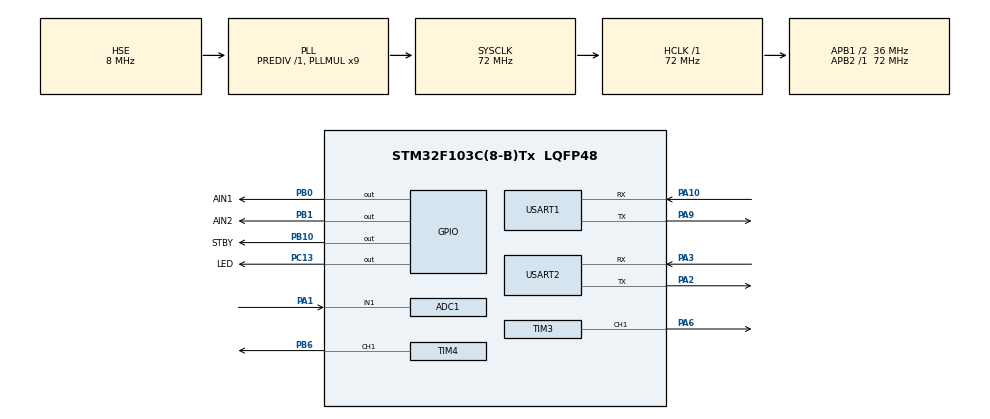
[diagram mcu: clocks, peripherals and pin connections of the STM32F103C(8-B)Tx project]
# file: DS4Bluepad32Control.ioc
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ADC1.Channel-3\#ChannelRegularConversion=ADC_CHANNEL_1
ADC1.NbrOfConversionFlag=1
ADC1.Rank-3\#ChannelRegularConversion=1
ADC1.SamplingTime-3\#ChannelRegularConversion=ADC_SAMPLETIME_1CYCLE_5
ADC1.master=1
Mcu.Family=STM32F1
Mcu.Name=STM32F103C(8-B)Tx
Mcu.Package=LQFP48
NVIC.PriorityGroup=NVIC_PRIORITYGROUP_4
NVIC.USART1_IRQn=true\:0\:0\:false\:false\:true\:true\:true\:true
NVIC.USART2_IRQn=true\:0\:0\:false\:false\:true\:true\:true\:true
PA1.Signal=ADCx_IN1
PA10.Mode=Asynchronous
PA10.Signal=USART1_RX
PA13.Mode=Serial_Wire
PA13.Signal=SYS_JTMS-SWDIO
PA14.Mode=Serial_Wire
PA14.Signal=SYS_JTCK-SWCLK
PA2.Mode=Asynchronous
PA2.Signal=USART2_TX
PA3.Mode=Asynchronous
PA3.Signal=USART2_RX
PA6.Signal=S_TIM3_CH1
PA9.Mode=Asynchronous
PA9.Signal=USART1_TX
PB0.GPIO_Label=AIN1
PB0.Signal=GPIO_Output
PB1.GPIO_Label=AIN2
PB1.Signal=GPIO_Output
PB10.GPIO_Label=STBY
PB10.Signal=GPIO_Output
PB6.Signal=S_TIM4_CH1
PC13-TAMPER-RTC.GPIO_Label=LED
PC13-TAMPER-RTC.Signal=GPIO_Output
PD0-OSC_IN.Mode=HSE-External-Oscillator
PD0-OSC_IN.Signal=RCC_OSC_IN
PD1-OSC_OUT.Mode=HSE-External-Oscillator
PD1-OSC_OUT.Signal=RCC_OSC_OUT
ProjectManager.HeapSize=0x200
ProjectManager.StackSize=0x400
ProjectManager.TargetToolchain=CMake
RCC.ADCPresc=RCC_ADCPCLK2_DIV6
RCC.AHBFreq_Value=72000000
RCC.APB1CLKDivider=RCC_HCLK_DIV2
RCC.APB1Freq_Value=36000000
RCC.APB1TimFreq_Value=72000000
RCC.APB2Freq_Value=72000000
RCC.APB2TimFreq_Value=72000000
RCC.HCLKFreq_Value=72000000
RCC.PLLMUL=RCC_PLL_MUL9
RCC.PLLSourceVirtual=RCC_PLLSOURCE_HSE
RCC.SYSCLKFreq_VALUE=72000000
RCC.SYSCLKSource=RCC_SYSCLKSOURCE_PLLCLK
RCC.USBFreq_Value=72000000
SH.ADCx_IN1.0=ADC1_IN1,IN1
SH.S_TIM3_CH1.0=TIM3_CH1,PWM Generation1 CH1
SH.S_TIM4_CH1.0=TIM4_CH1,PWM Generation1 CH1
TIM3.AutoReloadPreload=TIM_AUTORELOAD_PRELOAD_ENABLE
TIM3.Channel-PWM\ Generation1\ CH1=TIM_CHANNEL_1
TIM3.Period=899
TIM3.Prescaler=3
TIM3.Pulse-PWM\ Generation1\ CH1=1500
TIM4.AutoReloadPreload=TIM_AUTORELOAD_PRELOAD_ENABLE
TIM4.Channel-PWM\ Generation1\ CH1=TIM_CHANNEL_1
TIM4.Period=19999
TIM4.Prescaler=71
TIM4.Pulse-PWM\ Generation1\ CH1=1500
USART1.VirtualMode=VM_ASYNC
USART2.VirtualMode=VM_ASYNC
VP_TIM3_VS_ClockSourceINT.Mode=Internal
VP_TIM4_VS_ClockSourceINT.Mode=Internal
board=custom

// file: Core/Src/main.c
/* USER CODE BEGIN Header */
/**
  ******************************************************************************
  * @file           : main.c
  * @brief          : Main program body
  ******************************************************************************
  * @attention
  *
  * Copyright (c) 2026 STMicroelectronics.
  * All rights reserved.
  *
  * This software is licensed under terms that can be found in the LICENSE file
  * in the root directory of this software component.
  * If no LICENSE file comes with this software, it is provided AS-IS.
  *
  ******************************************************************************
  */
/* USER CODE END Header */
#include "main.h"
#include "adc.h"
#include "tim.h"
#include "usart.h"
#include "gpio.h"

/* USER CODE BEGIN Includes */
#include "board_config.h"
#include "rc_protocol.h"
#include "rc_cmd.h"
#include "car_control.h"
#include "dbg.h"
/* USER CODE END Includes */

/* USER CODE BEGIN PD */
/* 遥控数据从哪来？三选一，只改下面 RC_SOURCE 这一行 */
#define RC_SRC_CMD      1   /* 串口助手发文本命令，例如 T50 */
#define RC_SRC_FRAME    2   /* 串口助手发十六进制 12 字节帧 */
#define RC_SRC_ESP32    3   /* ESP32 转发 PS4 手柄 */

#define RC_SOURCE       RC_SRC_ESP32

#if (RC_SOURCE == RC_SRC_CMD)
  #define RC_TIMEOUT_MS   RC_TIMEOUT_CMD
#else
  #define RC_TIMEOUT_MS   RC_TIMEOUT_LINK
#endif
/* USER CODE END PD */

/* USER CODE BEGIN PV */
static rc_input_t g_rc;
static uint8_t  g_rx1;
static uint8_t  g_rx2;
static uint32_t g_tick_10ms;
static uint32_t g_tick_1s;
/* USER CODE END PV */

void SystemClock_Config(void);

/* USER CODE BEGIN 0 */
void HAL_UART_RxCpltCallback(UART_HandleTypeDef *huart)
{
  if (huart->Instance == USART1) {

#if (RC_SOURCE == RC_SRC_CMD)
    rc_cmd_feed(g_rx1);                    /* 文本命令 */
#else
    if (rc_parser_feed(g_rx1, &g_rc)) {    /* 二进制帧 */
      g_rc.last_rx_ms = HAL_GetTick();
    }
#endif
    HAL_UART_Receive_IT(&huart1, &g_rx1, 1);   /* 重新开中断 */

  } else if (huart->Instance == USART2) {

#if (RC_SOURCE != RC_SRC_CMD)
    if (rc_parser_feed(g_rx2, &g_rc)) {
      g_rc.last_rx_ms = HAL_GetTick();
    }
#endif
    HAL_UART_Receive_IT(&huart2, &g_rx2, 1);

  }
}

/** 串口出错回调：不做处理的话，出一次错就永远收不到数据了 */
void HAL_UART_ErrorCallback(UART_HandleTypeDef *huart)
{
  if (huart->Instance == USART1) {
    __HAL_UART_CLEAR_OREFLAG(huart);
    HAL_UART_Receive_IT(&huart1, &g_rx1, 1);
  } else if (huart->Instance == USART2) {
    __HAL_UART_CLEAR_OREFLAG(huart);
    HAL_UART_Receive_IT(&huart2, &g_rx2, 1);
  }
}
/* USER CODE END 0 */

int main(void)
{

  /* MCU Configuration--------------------------------------------------------*/

  /* Reset of all peripherals, Initializes the Flash interface and the Systick. */
  HAL_Init();

  /* Configure the system clock */
  SystemClock_Config();

  /* Initialize all configured peripherals */
  MX_GPIO_Init();
  MX_ADC1_Init();
  MX_TIM3_Init();
  MX_TIM4_Init();
  MX_USART1_UART_Init();
  MX_USART2_UART_Init();
  /* USER CODE BEGIN 2 */
  dbg_printf("\r\n===== 小车电控启动 =====\r\n");
#if (RC_SOURCE == RC_SRC_CMD)
  dbg_printf("遥控源: 串口命令 (发 ? 看帮助)\r\n");
  rc_cmd_init(&g_rc);
#elif (RC_SOURCE == RC_SRC_FRAME)
  dbg_printf("遥控源: 串口十六进制帧\r\n");
#else
  dbg_printf("遥控源: ESP32\r\n");
#endif

  rc_input_reset(&g_rc);

  car_init();                                   /* 舵机回中 + 使能 H 桥 */

  HAL_UART_Receive_IT(&huart1, &g_rx1, 1);      /* 打开两个串口的接收中断 */
  HAL_UART_Receive_IT(&huart2, &g_rx2, 1);
  /* USER CODE END 2 */

  /* Infinite loop */
  /* USER CODE BEGIN WHILE */
  g_tick_10ms = HAL_GetTick();
  g_tick_1s   = HAL_GetTick();

  while (1)
  {
    uint32_t now = HAL_GetTick();

    /* ---------- 10ms 控制周期 ---------- */
    if ((uint32_t)(now - g_tick_10ms) >= 10u) {
      g_tick_10ms += 10u;

      /* 1) 判断链路是否还活着 */
      rc_update_link(&g_rc, now, RC_TIMEOUT_MS);

      /* 2) 安全逻辑优先，任何一条成立就停车 */
      if (!g_rc.online) {
        car_stop();                        /* 失联保护 */
      } else if (g_rc.buttons & 0x0001u) {
        car_stop();                        /* □ 急停 */
      } else if (g_rc.l2 > 128u) {
        car_stop();                        /* L2 刹车 */
      } else {
        /* 3) 正常行驶：ly = 油门，rx = 转向 */
        car_command(g_rc.ly, g_rc.rx);
      }

      /* 4) 输出到电机（带斜坡） */
      car_task_10ms();
    }

    /* ---------- 1 秒心跳 ---------- */
    if ((uint32_t)(now - g_tick_1s) >= 1000u) {
      g_tick_1s = now;
      CAR_LED_TOGGLE();
      dbg_printf("[HB] on=%d thr=%d steer=%d l2=%d btn=%04X\r\n",
                 g_rc.online, car_get_throttle(), g_rc.rx, g_rc.l2, (unsigned)g_rc.buttons);
    }

    /* USER CODE END WHILE */

  }
}

void SystemClock_Config(void)
{
  RCC_OscInitTypeDef RCC_OscInitStruct = {0};
  RCC_ClkInitTypeDef RCC_ClkInitStruct = {0};
  RCC_PeriphCLKInitTypeDef PeriphClkInit = {0};

  /** Initializes the RCC Oscillators according to the specified parameters
  * in the RCC_OscInitTypeDef structure.
  */
  RCC_OscInitStruct.OscillatorType = RCC_OSCILLATORTYPE_HSE;
  RCC_OscInitStruct.HSEState = RCC_HSE_ON;
  RCC_OscInitStruct.HSEPredivValue = RCC_HSE_PREDIV_DIV1;
  RCC_OscInitStruct.HSIState = RCC_HSI_ON;
  RCC_OscInitStruct.PLL.PLLState = RCC_PLL_ON;
  RCC_OscInitStruct.PLL.PLLSource = RCC_PLLSOURCE_HSE;
  RCC_OscInitStruct.PLL.PLLMUL = RCC_PLL_MUL9;
  if (HAL_RCC_OscConfig(&RCC_OscInitStruct) != HAL_OK)
  {
    Error_Handler();
  }

  /** Initializes the CPU, AHB and APB buses clocks
  */
  RCC_ClkInitStruct.ClockType = RCC_CLOCKTYPE_HCLK|RCC_CLOCKTYPE_SYSCLK
                              |RCC_CLOCKTYPE_PCLK1|RCC_CLOCKTYPE_PCLK2;
  RCC_ClkInitStruct.SYSCLKSource = RCC_SYSCLKSOURCE_PLLCLK;
  RCC_ClkInitStruct.AHBCLKDivider = RCC_SYSCLK_DIV1;
  RCC_ClkInitStruct.APB1CLKDivider = RCC_HCLK_DIV2;
  RCC_ClkInitStruct.APB2CLKDivider = RCC_HCLK_DIV1;

  if (HAL_RCC_ClockConfig(&RCC_ClkInitStruct, FLASH_LATENCY_2) != HAL_OK)
  {
    Error_Handler();
  }
  PeriphClkInit.PeriphClockSelection = RCC_PERIPHCLK_ADC;
  PeriphClkInit.AdcClockSelection = RCC_ADCPCLK2_DIV6;
  if (HAL_RCCEx_PeriphCLKConfig(&PeriphClkInit) != HAL_OK)
  {
    Error_Handler();
  }
}

void Error_Handler(void)
{
  __disable_irq();
  while (1)
  {
  }
}
